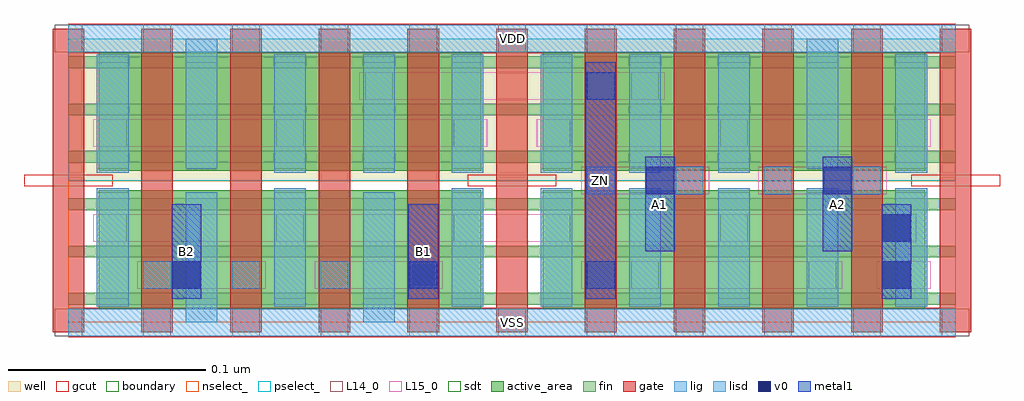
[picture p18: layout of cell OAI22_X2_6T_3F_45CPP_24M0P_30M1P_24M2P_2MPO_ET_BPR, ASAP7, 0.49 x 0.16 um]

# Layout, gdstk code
import gdstk
lib = gdstk.Library(unit=1e-6, precision=2.5e-10)
def R(c, l, rs):  # rectangles x0, y0, x1, y1
    for r in rs: c.add(gdstk.rectangle(r[:2], r[2:], *l))
def A(c, l, x, y, w, h, nx, ny, dx, dy):  # array of equal rectangles
    R(c, l, [(x+i*dx, y+j*dy, x+i*dx+w, y+j*dy+h) for i in range(nx) for j in range(ny)])
well = (1, 0)
fin = (2, 0)
gate = (7, 0)
gcut = (10, 0)
active_area = (11, 0)
nselect_ = (12, 0)
pselect_ = (13, 0)
L14_0 = (14, 0)
L15_0 = (15, 0)
lig = (16, 0)
lisd = (17, 0)
v0 = (18, 0)
metal1 = (19, 0)
sdt = (88, 0)
boundary = (100, 0)

oai22_x2_6t_3f_45cpp_24m = lib.new_cell('OAI22_X2_6T_3F_45CPP_24M0P_30M1P_24M2P_2MPO_ET_BPR')
R(oai22_x2_6t_3f_45cpp_24m, well, [(0,0.072,0.45,0.144)])
A(oai22_x2_6t_3f_45cpp_24m, fin, 0, 0.009, 0.45, 0.006, 1, 6, 0, 0.024)
A(oai22_x2_6t_3f_45cpp_24m, gate, -0.008, -0.005, 0.016, 0.154, 11, 1, 0.045, 0)
A(oai22_x2_6t_3f_45cpp_24m, gcut, -0.0225, 0.069, 0.045, 0.006, 3, 1, 0.225, 0)
R(oai22_x2_6t_3f_45cpp_24m, gcut, [(0,-0.0075,0.45,0.0075), (0,0.1365,0.45,0.1515)])
R(oai22_x2_6t_3f_45cpp_24m, active_area, [(0.0155,0.007,0.1195,0.067), (0.1055,0.007,0.2095,0.067), (0.2405,0.007,0.3445,0.067), (0.3305,0.007,0.4345,0.067), (0.0155,0.077,0.1195,0.137), (0.1055,0.077,0.2095,0.137), (0.2405,0.077,0.3445,0.137), (0.3305,0.077,0.4345,0.137)])
R(oai22_x2_6t_3f_45cpp_24m, nselect_, [(0,0,0.45,0.072)])
R(oai22_x2_6t_3f_45cpp_24m, pselect_, [(0,0.072,0.45,0.144)])
A(oai22_x2_6t_3f_45cpp_24m, L14_0, -0.007, -0.007, 0.014, 0.014, 11, 2, 0.045, 0.144)
A(oai22_x2_6t_3f_45cpp_24m, L14_0, 0.038, 0.017, 0.014, 0.014, 4, 1, 0.045, 0)
A(oai22_x2_6t_3f_45cpp_24m, L14_0, 0.0155, 0.041, 0.014, 0.014, 3, 2, 0.09, 0.048)
A(oai22_x2_6t_3f_45cpp_24m, L14_0, 0.263, 0.065, 0.014, 0.014, 4, 1, 0.045, 0)
A(oai22_x2_6t_3f_45cpp_24m, L14_0, 0.2405, 0.089, 0.014, 0.014, 3, 1, 0.09, 0)
R(oai22_x2_6t_3f_45cpp_24m, L14_0, [(0.2855,0.017,0.2995,0.031), (0.3755,0.017,0.3895,0.031), (0.4205,0.017,0.4345,0.031), (0.2405,0.041,0.2545,0.055), (0.3305,0.041,0.3445,0.055), (0.1505,0.113,0.1645,0.127), (0.2855,0.113,0.2995,0.127)])
R(oai22_x2_6t_3f_45cpp_24m, L15_0, [(0,-0.007,0.45,0.007), (0.035,0.017,0.1,0.031), (0.125,0.017,0.19,0.031), (0.26,0.017,0.3925,0.031), (0.41,0.017,0.4375,0.031), (0.0125,0.041,0.43,0.055), (0.26,0.065,0.325,0.079), (0.35,0.065,0.415,0.079), (0.0125,0.089,0.2125,0.103), (0.2375,0.089,0.4375,0.103), (0.1475,0.113,0.3025,0.127), (0,0.137,0.45,0.151)])
A(oai22_x2_6t_3f_45cpp_24m, lig, 0.038, 0.017, 0.014, 0.014, 4, 1, 0.045, 0)
A(oai22_x2_6t_3f_45cpp_24m, lig, 0.263, 0.065, 0.014, 0.014, 4, 1, 0.045, 0)
R(oai22_x2_6t_3f_45cpp_24m, lig, [(0,-0.007,0.45,0.007), (0,0.137,0.45,0.151)])
A(oai22_x2_6t_3f_45cpp_24m, lisd, 0.0145, 0.008, 0.016, 0.06, 3, 1, 0.09, 0)
A(oai22_x2_6t_3f_45cpp_24m, lisd, 0.2395, 0.008, 0.016, 0.06, 5, 1, 0.045, 0)
A(oai22_x2_6t_3f_45cpp_24m, lisd, 0.1045, 0.076, 0.016, 0.06, 6, 1, 0.045, 0)
R(oai22_x2_6t_3f_45cpp_24m, lisd, [(0.0595,0,0.0755,0.066), (0.1495,0,0.1655,0.066), (0.0145,0.076,0.0305,0.136), (0.4195,0.076,0.4355,0.136), (0.0595,0.078,0.0755,0.144), (0.3745,0.078,0.3905,0.144)])
R(oai22_x2_6t_3f_45cpp_24m, v0, [(0.053,0.017,0.067,0.031), (0.173,0.017,0.187,0.031), (0.263,0.017,0.277,0.031), (0.413,0.017,0.427,0.031), (0.413,0.041,0.427,0.055), (0.293,0.065,0.307,0.079), (0.383,0.065,0.397,0.079), (0.263,0.113,0.277,0.127)])
R(oai22_x2_6t_3f_45cpp_24m, metal1, [(0.0525,0.012,0.0675,0.06), (0.1725,0.012,0.1875,0.06), (0.2625,0.012,0.2775,0.132), (0.4125,0.012,0.4275,0.06), (0.2925,0.036,0.3075,0.084), (0.3825,0.036,0.3975,0.084)])
A(oai22_x2_6t_3f_45cpp_24m, sdt, 0.0145, 0.012, 0.016, 0.054, 10, 2, 0.045, 0.066)
R(oai22_x2_6t_3f_45cpp_24m, boundary, [(0,0,0.45,0.144)])
oai22_x2_6t_3f_45cpp_24m.add(gdstk.Label('A1', (0.3,0.06), layer=19, texttype=251))
oai22_x2_6t_3f_45cpp_24m.add(gdstk.Label('ZN', (0.27,0.072), layer=19, texttype=251))
oai22_x2_6t_3f_45cpp_24m.add(gdstk.Label('A2', (0.39,0.06), layer=19, texttype=251))
oai22_x2_6t_3f_45cpp_24m.add(gdstk.Label('B1', (0.18,0.036), layer=19, texttype=251))
oai22_x2_6t_3f_45cpp_24m.add(gdstk.Label('B2', (0.06,0.036), layer=19, texttype=251))
oai22_x2_6t_3f_45cpp_24m.add(gdstk.Label('VDD', (0.225,0.144), layer=15, texttype=251))
oai22_x2_6t_3f_45cpp_24m.add(gdstk.Label('VSS', (0.225,0), layer=15, texttype=251))
oai22_x2_6t_3f_45cpp_24m.add(gdstk.Label('VDD', (0.225,0.144), layer=1, texttype=251))
oai22_x2_6t_3f_45cpp_24m.add(gdstk.Label('VSS', (0.225,0), layer=3, texttype=251))

lib.write_gds('OAI22_X2_6T_3F_45CPP_24M0P_30M1P_24M2P_2MPO_ET_BPR.gds')
